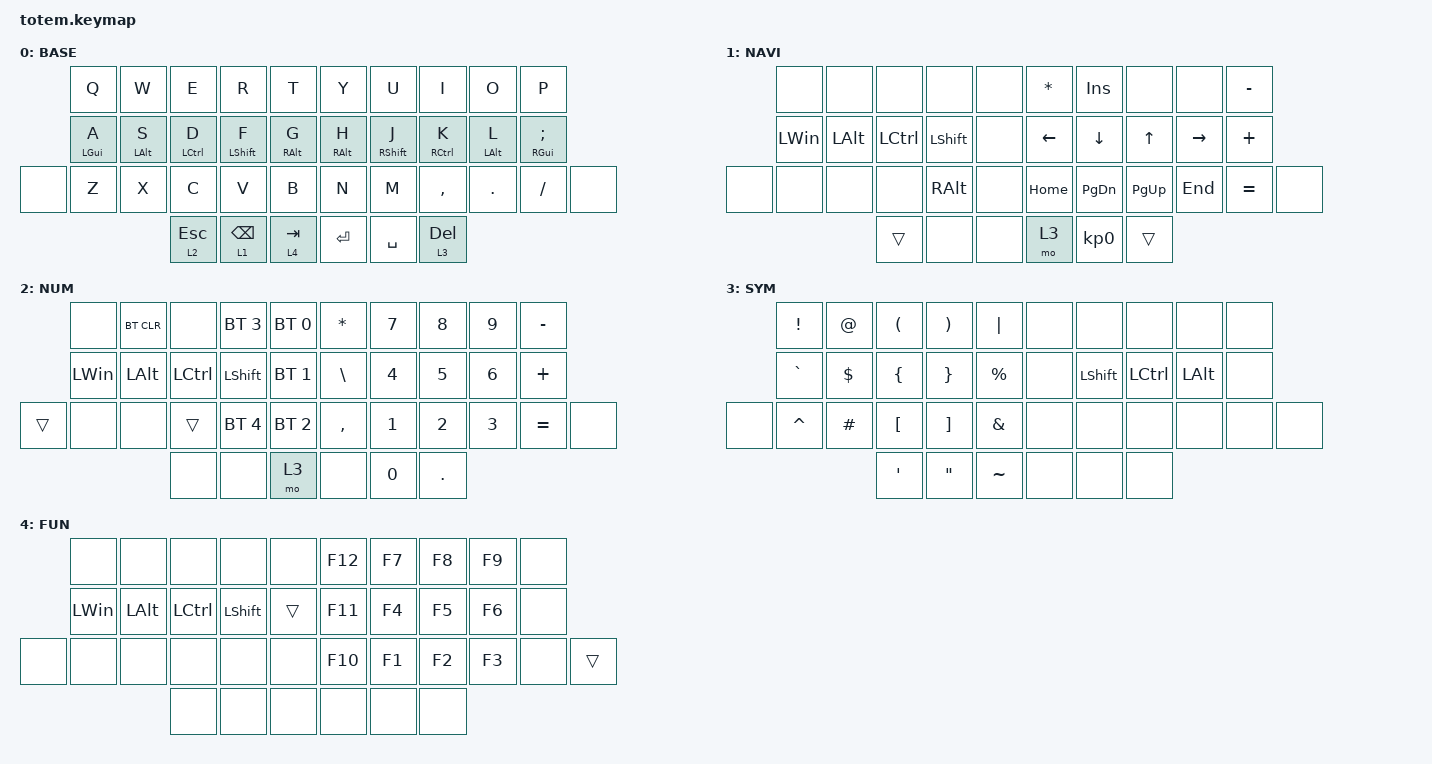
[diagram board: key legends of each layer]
//
//                                                        ▀▀▀▀▀     ▀▀▀▀▀          ▀▀█▀▀
//                                                        ▄▀▀▀▄  ▄  ▄▀▀▀▄  ▄  ▄▀▀▀▄  █  ▄▀▀▀▄
//                                                        █   █  █  █   █  █  █   █  █  █   █
//                                                         ▀▀▀   █   ▀▀▀   █   ▀▀▀   ▀   ▀▀▀
//                                                               █      ▄▄▄█▄▄▄    █   █  
//                                                               ▀      █  █  █     █▄█
//                                                             ▀▀▀▀▀    █  █  █      ▀
//                                                                      ▀  ▀  ▀
//
// ▄▄▄▄▄▄▄▄▄▄▄▄▄▄▄▄▄▄▄▄▄▄▄▄▄▄▄▄▄▄▄▄▄▄▄▄▄▄▄▄▄▄▄▄▄▄▄▄▄▄▄▄▄▄▄▄▄▄▄▄▄▄▄▄▄▄▄▄▄▄▄▄▄▄▄▄▄▄▄▄▄▄▄▄▄▄▄▄▄▄▄▄▄▄▄▄▄▄▄▄▄▄▄▄▄▄▄▄▄▄▄▄▄▄▄▄▄▄▄▄▄▄▄▄▄▄▄▄▄▄▄▄▄▄▄▄▄▄▄▄▄▄▄▄▄▄▄▄▄

#include <behaviors.dtsi>
#include <dt-bindings/zmk/bt.h>
#include <dt-bindings/zmk/keys.h>

#define BASE 0
#define NAV  1
#define SYM  2
#define ADJ  3
#define TVP1 4
#define TVP2 5

&mt {
    quick-tap-ms = <100>;
    global-quick-tap;
    flavor = "hold-preferred";
    tapping-term-ms = <200>;
};

&lt {
    tapping-term-ms = <200>;
    flavor = "hold-preferred";
};

/ {
    combos {
        compatible = "zmk,combos";

        combo_esc {
            timeout-ms = <50>;
            key-positions = <0 1>;
            bindings = <&kp ESC>;
        };

        combo_tvp {
            timeout-ms = <100>;
            key-positions = <11 12 13>;
            bindings = <&tog 0>;
        };
    };

    macros {
        gif: gif {
            label = "giphy";
            compatible = "zmk,behavior-macro";
            #binding-cells = <0>;
            bindings =
                <&macro_press>,
                <&kp LSHFT>,
                <&macro_tap>,
                <&kp N2>,
                <&macro_release>,
                <&kp LSHFT>,
                <&macro_tap>,
                <&kp G &kp I &kp F>;
        };
    };

    keymap {
        compatible = "zmk,keymap";

        // ▄▄▄▄▄▄▄▄▄▄▄▄▄▄▄▄▄▄▄▄▄▄▄▄▄▄▄▄▄▄▄▄▄▄▄▄▄▄▄▄▄▄▄▄▄▄▄▄▄▄▄▄▄▄▄▄▄▄▄▄▄▄▄▄▄▄▄▄▄▄▄▄▄▄▄▄▄▄▄▄▄▄▄▄▄▄▄▄▄▄▄▄▄▄▄▄▄▄▄▄▄▄▄▄▄▄▄▄▄▄▄▄▄▄▄▄▄▄▄▄▄▄▄▄▄▄▄▄▄▄▄▄▄▄▄▄▄▄▄▄▄▄▄▄▄▄▄▄▄

        base_layer {
            // ┏━━━━━━━━━━━━━━━━━━━━━━━━━━━━━━━━━━━━━━━┓

            label = "BASE";

            // ┗━━━━━━━━━━━━━━━━━━━━━━━━━━━━━━━━━━━━━━━┛
            //             ┏━━━━━━━━━━━┳━━━━━━━━━━━┳━━━━━━━━━━━┳━━━━━━━━━━━┳━━━━━━━━━━━┓   ┏━━━━━━━━━━━┳━━━━━━━━━━━┳━━━━━━━━━━━┳━━━━━━━━━━━┳━━━━━━━━━━━┓
            //             ┃     Q     ┃     W     ┃     F     ┃     P     ┃     G     ┃   ┃     J     ┃     L     ┃     U     ┃     Y     ┃     ;     ┃
            //             ┣━━━━━━━━━━━╋━━━━━━━━━━━╋━━━━━━━━━━━╋━━━━━━━━━━━╋━━━━━━━━━━━┫   ┣━━━━━━━━━━━╋━━━━━━━━━━━╋━━━━━━━━━━━╋━━━━━━━━━━━╋━━━━━━━━━━━┫
            //             ┃     A     ┃     R     ┃     S     ┃     T     ┃     D     ┃   ┃     H     ┃     N     ┃     E     ┃     I     ┃     O     ┃
            // ┏━━━━━━━━━━━╋━━━━━━━━━━━╋━━━━━━━━━━━╋━━━━━━━━━━━╋━━━━━━━━━━━╋━━━━━━━━━━━┫   ┣━━━━━━━━━━━╋━━━━━━━━━━━╋━━━━━━━━━━━╋━━━━━━━━━━━╋━━━━━━━━━━━╋━━━━━━━━━━━┓
            // ┃     Q     ┃     Z     ┃     X     ┃     C     ┃     V     ┃     B     ┃   ┃     K     ┃     M     ┃     ,     ┃     .     ┃     /     ┃     \     ┃
            // ┗━━━━━━━━━━━┻━━━━━━━━━━━┻━━━━━━━━━━━╋━━━━━━━━━━━╋━━━━━━━━━━━╋━━━━━━━━━━━┫   ┣━━━━━━━━━━━╋━━━━━━━━━━━╋━━━━━━━━━━━╋━━━━━━━━━━━┻━━━━━━━━━━━┻━━━━━━━━━━━┛
            //                                     ┃    DEL    ┃    TAB    ┃    SPC    ┃   ┃   ENTER   ┃           ┃   BSPC    ┃
            //                                     ┗━━━━━━━━━━━┻━━━━━━━━━━━┻━━━━━━━━━━━┛   ┗━━━━━━━━━━━┻━━━━━━━━━━━┻━━━━━━━━━━━┛

            bindings = <
       &kp Q       &kp W       &kp E         &kp R            &kp T              &kp Y            &kp U        &kp I        &kp O           &kp P
       &mt LGUI A  &mt LALT S  &mt LCTRL D   &mt LSHFT F      &mt RIGHT_ALT G    &mt RIGHT_ALT H  &mt RSHFT J  &mt RCTRL K  &mt LEFT_ALT L  &mt RGUI SEMICOLON
&none  &kp Z       &kp X       &kp C         &kp V            &kp B              &kp N            &kp M        &kp COMMA    &kp PERIOD      &kp FSLH            &none
                               &lt 2 ESCAPE  &lt 1 BACKSPACE  &lt 4 TAB          &kp RET          &kp SPACE    &lt 3 DEL
            >;
        };

        nav_layer {
            // ┏━━━━━━━━━━━━━━━━━━━━━━━━━━━━━━━━━━━━━━━┓

            label = "NAVI";

            // ┗━━━━━━━━━━━━━━━━━━━━━━━━━━━━━━━━━━━━━━━┛
            //             ┏━━━━━━━━━━━┳━━━━━━━━━━━┳━━━━━━━━━━━┳━━━━━━━━━━━┳━━━━━━━━━━━┓   ┏━━━━━━━━━━━┳━━━━━━━━━━━┳━━━━━━━━━━━┳━━━━━━━━━━━┳━━━━━━━━━━━┓
            //             ┃           ┃           ┃     UP    ┃           ┃     {     ┃   ┃     }     ┃     7     ┃     8     ┃     9     ┃     +     ┃
            //             ┣━━━━━━━━━━━╋━━━━━━━━━━━╋━━━━━━━━━━━╋━━━━━━━━━━━╋━━━━━━━━━━━┫   ┣━━━━━━━━━━━╋━━━━━━━━━━━╋━━━━━━━━━━━╋━━━━━━━━━━━╋━━━━━━━━━━━┫
            //             ┃   SHIFT   ┃   LEFT    ┃    DOWN   ┃   RIGHT   ┃     [     ┃   ┃     ]     ┃     4     ┃     5     ┃     6     ┃     -     ┃
            // ┏━━━━━━━━━━━╋━━━━━━━━━━━╋━━━━━━━━━━━╋━━━━━━━━━━━╋━━━━━━━━━━━╋━━━━━━━━━━━┫   ┣━━━━━━━━━━━╋━━━━━━━━━━━╋━━━━━━━━━━━╋━━━━━━━━━━━╋━━━━━━━━━━━╋━━━━━━━━━━━┓
            // ┃           ┃           ┃   P UP    ┃  C LOCK   ┃  P DOWN   ┃     (     ┃   ┃     )     ┃     1     ┃     2     ┃     3     ┃     *     ┃           ┃
            // ┗━━━━━━━━━━━┻━━━━━━━━━━━┻━━━━━━━━━━━╋━━━━━━━━━━━╋━━━━━━━━━━━╋━━━━━━━━━━━┫   ┣━━━━━━━━━━━╋━━━━━━━━━━━╋━━━━━━━━━━━╋━━━━━━━━━━━┻━━━━━━━━━━━┻━━━━━━━━━━━┛
            //                                     ┃           ┃    TAB    ┃    SPC    ┃   ┃    DEL    ┃     0     ┃           ┃
            //                                     ┗━━━━━━━━━━━┻━━━━━━━━━━━┻━━━━━━━━━━━┛   ┗━━━━━━━━━━━┻━━━━━━━━━━━┻━━━━━━━━━━━┛

            bindings = <
       &none     &none         &none      &none          &none    &kp ASTERISK    &kp INS        &none         &none            &kp MINUS
       &kp LWIN  &kp LEFT_ALT  &kp LCTRL  &kp LSHIFT     &none    &kp LEFT_ARROW  &kp DOWN       &kp UP_ARROW  &kp RIGHT_ARROW  &kp PLUS
&none  &none     &none         &none      &kp RIGHT_ALT  &none    &kp HOME        &kp PAGE_DOWN  &kp PG_UP     &kp END          &kp EQUAL  &none
                               &trans     &none          &none    &mo 3           &kp KP_N0      &trans
            >;
        };

        num {
            // ┏━━━━━━━━━━━━━━━━━━━━━━━━━━━━━━━━━━━━━━━┓

            label = "NUM";

            // ┗━━━━━━━━━━━━━━━━━━━━━━━━━━━━━━━━━━━━━━━┛
            //             ┏━━━━━━━━━━━┳━━━━━━━━━━━┳━━━━━━━━━━━┳━━━━━━━━━━━┳━━━━━━━━━━━┓   ┏━━━━━━━━━━━┳━━━━━━━━━━━┳━━━━━━━━━━━┳━━━━━━━━━━━┳━━━━━━━━━━━┓
            //             ┃     !     ┃     @     ┃     #     ┃     $     ┃     %     ┃   ┃     ˆ     ┃     &     ┃     Ü     ┃     '     ┃     "     ┃
            //             ┣━━━━━━━━━━━╋━━━━━━━━━━━╋━━━━━━━━━━━╋━━━━━━━━━━━╋━━━━━━━━━━━┫   ┣━━━━━━━━━━━╋━━━━━━━━━━━╋━━━━━━━━━━━╋━━━━━━━━━━━╋━━━━━━━━━━━┫
            //             ┃     Ä     ┃           ┃    SZ     ┃           ┃           ┃   ┃   MUTE    ┃   YEN     ┃   EURO    ┃  POUND    ┃     Ö     ┃
            // ┏━━━━━━━━━━━╋━━━━━━━━━━━╋━━━━━━━━━━━╋━━━━━━━━━━━╋━━━━━━━━━━━╋━━━━━━━━━━━┫   ┣━━━━━━━━━━━╋━━━━━━━━━━━╋━━━━━━━━━━━╋━━━━━━━━━━━╋━━━━━━━━━━━╋━━━━━━━━━━━┓
            // ┃           ┃  EMAIL1   ┃  EMAIL2   ┃           ┃           ┃           ┃   ┃   VOL-    ┃   VOL+    ┃   LAST    ┃   NEXT    ┃     \     ┃           ┃
            // ┗━━━━━━━━━━━┻━━━━━━━━━━━┻━━━━━━━━━━━╋━━━━━━━━━━━╋━━━━━━━━━━━╋━━━━━━━━━━━┫   ┣━━━━━━━━━━━╋━━━━━━━━━━━╋━━━━━━━━━━━╋━━━━━━━━━━━┻━━━━━━━━━━━┻━━━━━━━━━━━┛
            //                                     ┃           ┃    GIF    ┃    ADJ    ┃   ┃           ┃           ┃           ┃
            //                                     ┗━━━━━━━━━━━┻━━━━━━━━━━━┻━━━━━━━━━━━┛   ┗━━━━━━━━━━━┻━━━━━━━━━━━┻━━━━━━━━━━━┛

            bindings = <
        &none     &bt BT_CLR    &none      &bt BT_SEL 3    &bt BT_SEL 0    &kp ASTERISK   &kp NUMBER_7  &kp NUMBER_8  &kp NUMBER_9  &kp MINUS
        &kp LWIN  &kp LEFT_ALT  &kp LCTRL  &kp LSHIFT  &bt BT_SEL 1    &kp BACKSLASH  &kp NUMBER_4  &kp NUMBER_5  &kp NUMBER_6  &kp PLUS
&trans  &none     &none         &trans     &bt BT_SEL 4    &bt BT_SEL 2    &kp COMMA      &kp NUMBER_1  &kp NUMBER_2  &kp NUMBER_3  &kp EQUAL  &none
                                &none      &none       &mo 3           &none          &kp NUMBER_0  &kp PERIOD
            >;
        };

        sym {
            // ┏━━━━━━━━━━━━━━━━━━━━━━━━━━━━━━━━━━━━━━━┓

            label = "SYM";

            // ┗━━━━━━━━━━━━━━━━━━━━━━━━━━━━━━━━━━━━━━━┛
            //             ┏━━━━━━━━━━━┳━━━━━━━━━━━┳━━━━━━━━━━━┳━━━━━━━━━━━┳━━━━━━━━━━━┓   ┏━━━━━━━━━━━┳━━━━━━━━━━━┳━━━━━━━━━━━┳━━━━━━━━━━━┳━━━━━━━━━━━┓
            //             ┃ NEXT FILE ┃ MARK IN   ┃ ROTATE    ┃ MARK OUT  ┃ SHOW SNAP ┃   ┃           ┃           ┃           ┃           ┃           ┃
            //             ┣━━━━━━━━━━━╋━━━━━━━━━━━╋━━━━━━━━━━━╋━━━━━━━━━━━╋━━━━━━━━━━━┫   ┣━━━━━━━━━━━╋━━━━━━━━━━━╋━━━━━━━━━━━╋━━━━━━━━━━━╋━━━━━━━━━━━┫
            //             ┃ TVP II    ┃ LEFT      ┃ PAN       ┃ RIGHT     ┃ PLAY/FLIP ┃   ┃           ┃           ┃           ┃           ┃           ┃
            // ┏━━━━━━━━━━━╋━━━━━━━━━━━╋━━━━━━━━━━━╋━━━━━━━━━━━╋━━━━━━━━━━━╋━━━━━━━━━━━┫   ┣━━━━━━━━━━━╋━━━━━━━━━━━╋━━━━━━━━━━━╋━━━━━━━━━━━╋━━━━━━━━━━━╋━━━━━━━━━━━┓
            // ┃ FULLSCR   ┃ SHIFT     ┃ COPY      ┃ DELETE    ┃ PASTE     ┃ IMG MARK  ┃   ┃           ┃           ┃           ┃           ┃           ┃           ┃
            // ┗━━━━━━━━━━━┻━━━━━━━━━━━┻━━━━━━━━━━━╋━━━━━━━━━━━╋━━━━━━━━━━━╋━━━━━━━━━━━┫   ┣━━━━━━━━━━━╋━━━━━━━━━━━╋━━━━━━━━━━━╋━━━━━━━━━━━┻━━━━━━━━━━━┻━━━━━━━━━━━┛
            //                                     ┃           ┃ UNDO/SAVE ┃  SEL/MOV  ┃   ┃           ┃           ┃           ┃
            //                                     ┗━━━━━━━━━━━┻━━━━━━━━━━━┻━━━━━━━━━━━┛   ┗━━━━━━━━━━━┻━━━━━━━━━━━┻━━━━━━━━━━━┛

            bindings = <
       &kp EXCLAMATION  &kp AT_SIGN  &kp LEFT_PARENTHESIS  &kp RIGHT_PARENTHESIS  &kp PIPE         &none  &none           &none      &none         &none
       &kp GRAVE        &kp DOLLAR   &kp LEFT_BRACE        &kp RIGHT_BRACE        &kp PERCENT      &none  &kp LEFT_SHIFT  &kp LCTRL  &kp LEFT_ALT  &none
&none  &kp CARET        &kp HASH     &kp LBKT              &kp RIGHT_BRACKET      &kp AMPERSAND    &none  &none           &none      &none         &none  &none
                                     &kp SINGLE_QUOTE      &kp DOUBLE_QUOTES      &kp TILDE        &none  &none           &none
            >;
        };

        fun {
            // ┏━━━━━━━━━━━━━━━━━━━━━━━━━━━━━━━━━━━━━━━┓

            label = "FUN";

            // ┗━━━━━━━━━━━━━━━━━━━━━━━━━━━━━━━━━━━━━━━┛
            //             ┏━━━━━━━━━━━┳━━━━━━━━━━━┳━━━━━━━━━━━┳━━━━━━━━━━━┳━━━━━━━━━━━┓   ┏━━━━━━━━━━━┳━━━━━━━━━━━┳━━━━━━━━━━━┳━━━━━━━━━━━┳━━━━━━━━━━━┓
            //             ┃   RESET   ┃ BT CLEAR  ┃  OUT TOG  ┃           ┃           ┃   ┃           ┃    F7     ┃    F8     ┃    F9     ┃    F12    ┃
            //             ┣━━━━━━━━━━━╋━━━━━━━━━━━╋━━━━━━━━━━━╋━━━━━━━━━━━╋━━━━━━━━━━━┫   ┣━━━━━━━━━━━╋━━━━━━━━━━━╋━━━━━━━━━━━╋━━━━━━━━━━━╋━━━━━━━━━━━┫
            //             ┃ BOOTLOAD  ┃ BT NEXT   ┃           ┃           ┃           ┃   ┃           ┃    F4     ┃    F5     ┃    F6     ┃    F11    ┃
            // ┏━━━━━━━━━━━╋━━━━━━━━━━━╋━━━━━━━━━━━╋━━━━━━━━━━━╋━━━━━━━━━━━╋━━━━━━━━━━━┫   ┣━━━━━━━━━━━╋━━━━━━━━━━━╋━━━━━━━━━━━╋━━━━━━━━━━━╋━━━━━━━━━━━╋━━━━━━━━━━━┓
            // ┃           ┃           ┃ BT PREV   ┃           ┃           ┃           ┃   ┃           ┃    F1     ┃    F2     ┃    F3     ┃    F10    ┃           ┃
            // ┗━━━━━━━━━━━┻━━━━━━━━━━━┻━━━━━━━━━━━╋━━━━━━━━━━━╋━━━━━━━━━━━╋━━━━━━━━━━━┫   ┣━━━━━━━━━━━╋━━━━━━━━━━━╋━━━━━━━━━━━╋━━━━━━━━━━━┻━━━━━━━━━━━┻━━━━━━━━━━━┛
            //                                     ┃           ┃           ┃           ┃   ┃           ┃           ┃           ┃
            //                                     ┗━━━━━━━━━━━┻━━━━━━━━━━━┻━━━━━━━━━━━┛   ┗━━━━━━━━━━━┻━━━━━━━━━━━┻━━━━━━━━━━━┛

            bindings = <
       &none     &none         &none      &none      &none     &kp F12  &kp F7  &kp F8  &kp F9  &none
       &kp LWIN  &kp LEFT_ALT  &kp LCTRL  &kp LSHFT  &trans    &kp F11  &kp F4  &kp F5  &kp F6  &none
&none  &none     &none         &none      &none      &none     &kp F10  &kp F1  &kp F2  &kp F3  &none  &trans
                               &none      &none      &none     &none    &none   &none
            >;
        };
    };
};
